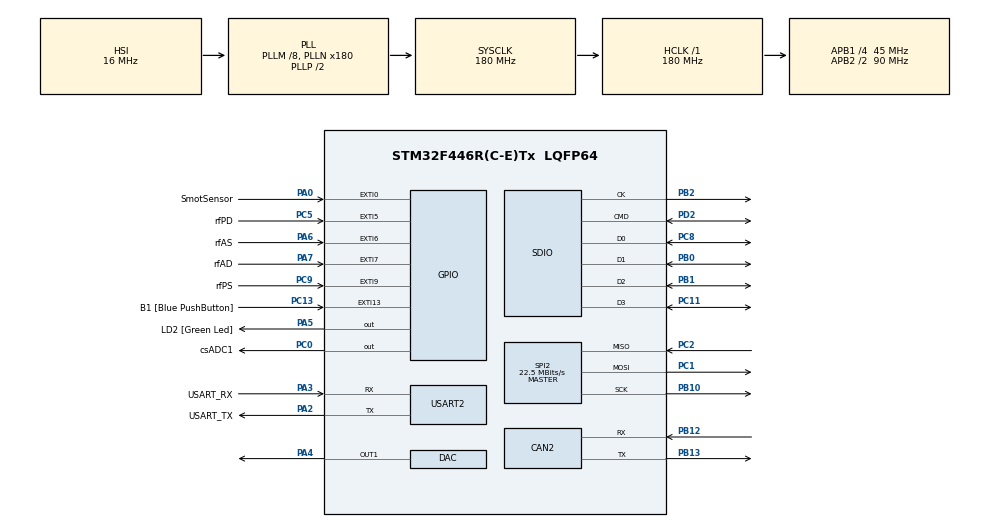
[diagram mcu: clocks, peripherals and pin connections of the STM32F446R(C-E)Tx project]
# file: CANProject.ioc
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CAN2.CalculateTimeQuantum=355.55555555555554
Mcu.Family=STM32F4
Mcu.Name=STM32F446R(C-E)Tx
Mcu.Package=LQFP64
NVIC.CAN2_RX0_IRQn=true\:0\:0\:false\:false\:true\:true\:true
NVIC.EXTI0_IRQn=true\:0\:0\:false\:false\:true\:true\:true
NVIC.EXTI15_10_IRQn=true\:0\:0\:false\:false\:true\:true\:true
NVIC.EXTI9_5_IRQn=true\:0\:0\:false\:false\:true\:true\:true
NVIC.PriorityGroup=NVIC_PRIORITYGROUP_0
NVIC.SDIO_IRQn=true\:0\:0\:false\:false\:true\:true\:true
NVIC.TIM2_IRQn=true\:0\:0\:false\:false\:true\:true\:true
NVIC.USART2_IRQn=true\:0\:0\:false\:false\:true\:true\:true
PA0-WKUP.GPIO_Label=SmotSensor
PA0-WKUP.GPIO_ModeDefaultEXTI=GPIO_MODE_IT_RISING_FALLING
PA0-WKUP.Signal=GPXTI0
PA13.GPIO_Label=TMS
PA13.Mode=Serial_Wire
PA13.Signal=SYS_JTMS-SWDIO
PA14.GPIO_Label=TCK
PA14.Mode=Serial_Wire
PA14.Signal=SYS_JTCK-SWCLK
PA2.GPIO_Label=USART_TX
PA2.Mode=Asynchronous
PA2.Signal=USART2_TX
PA3.GPIO_Label=USART_RX
PA3.Mode=Asynchronous
PA3.Signal=USART2_RX
PA4.Signal=COMP_DAC1_group
PA5.GPIO_Label=LD2 [Green Led]
PA5.Signal=GPIO_Output
PA6.GPIO_Label=rfAS
PA6.GPIO_ModeDefaultEXTI=GPIO_MODE_IT_RISING_FALLING
PA6.Signal=GPXTI6
PA7.GPIO_Label=rfAD
PA7.GPIO_ModeDefaultEXTI=GPIO_MODE_IT_FALLING
PA7.Signal=GPXTI7
PB0.Mode=SD_4_bits_Wide_bus
PB0.Signal=SDIO_D1
PB1.Mode=SD_4_bits_Wide_bus
PB1.Signal=SDIO_D2
PB10.Mode=Full_Duplex_Master
PB10.Signal=SPI2_SCK
PB12.Mode=Slave
PB12.Signal=CAN2_RX
PB13.Mode=Slave
PB13.Signal=CAN2_TX
PB2.Mode=SD_4_bits_Wide_bus
PB2.Signal=SDIO_CK
PB3.GPIO_Label=SWO
PB3.Signal=SYS_JTDO-SWO
PC0.GPIO_Label=csADC1
PC0.Signal=GPIO_Output
PC1.Mode=Full_Duplex_Master
PC1.Signal=SPI2_MOSI
PC11.Mode=SD_4_bits_Wide_bus
PC11.Signal=SDIO_D3
PC13.GPIO_Label=B1 [Blue PushButton]
PC13.GPIO_ModeDefaultEXTI=GPIO_MODE_IT_FALLING
PC13.Signal=GPXTI13
PC14-OSC32_IN.Mode=LSE-External-Oscillator
PC14-OSC32_IN.Signal=RCC_OSC32_IN
PC15-OSC32_OUT.Mode=LSE-External-Oscillator
PC15-OSC32_OUT.Signal=RCC_OSC32_OUT
PC2.Mode=Full_Duplex_Master
PC2.Signal=SPI2_MISO
PC5.GPIO_Label=rfPD
PC5.GPIO_ModeDefaultEXTI=GPIO_MODE_IT_RISING_FALLING
PC5.Signal=GPXTI5
PC8.Mode=SD_4_bits_Wide_bus
PC8.Signal=SDIO_D0
PC9.GPIO_Label=rfPS
PC9.GPIO_ModeDefaultEXTI=GPIO_MODE_IT_RISING_FALLING
PC9.Signal=GPXTI9
PD2.Mode=SD_4_bits_Wide_bus
PD2.Signal=SDIO_CMD
PH0-OSC_IN.Mode=HSE-External-Oscillator
PH0-OSC_IN.Signal=RCC_OSC_IN
PH1-OSC_OUT.Mode=HSE-External-Oscillator
PH1-OSC_OUT.Signal=RCC_OSC_OUT
ProjectManager.HeapSize=0x200
ProjectManager.StackSize=0x400
ProjectManager.TargetToolchain=STM32CubeIDE
RCC.48MHZClocksFreq_Value=84000000
RCC.AHBFreq_Value=180000000
RCC.APB1CLKDivider=RCC_HCLK_DIV4
RCC.APB1Freq_Value=45000000
RCC.APB1TimFreq_Value=90000000
RCC.APB2CLKDivider=RCC_HCLK_DIV2
RCC.APB2Freq_Value=90000000
RCC.APB2TimFreq_Value=180000000
RCC.CortexFreq_Value=180000000
RCC.FLatency-AdvancedSettings=FLASH_LATENCY_5
RCC.HCLKFreq_Value=180000000
RCC.HSE_VALUE=8000000
RCC.HSI_VALUE=16000000
RCC.PLLM=8
RCC.PLLN=180
RCC.PLLQ=8
RCC.SYSCLKFreq_VALUE=180000000
RCC.SYSCLKSource=RCC_SYSCLKSOURCE_PLLCLK
RCC.USBFreq_Value=45000000
RCC.VCOOutputFreq_Value=360000000
SH.COMP_DAC1_group.0=DAC_OUT1,DAC_OUT1
SPI2.CalculateBaudRate=22.5 MBits/s
SPI2.Direction=SPI_DIRECTION_2LINES
SPI2.Mode=SPI_MODE_MASTER
SPI2.VirtualType=VM_MASTER
USART2.VirtualMode=VM_ASYNC
VP_TIM2_VS_ClockSourceINT.Mode=Internal
board=NUCLEO-F446RE

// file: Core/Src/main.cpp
/* USER CODE BEGIN Header */
/**
  ******************************************************************************
  * @file           : main.c
  * @brief          : Main program body
  ******************************************************************************
  * @attention
  *
  * <h2><center>&copy; Copyright (c) 2020 STMicroelectronics.
  * All rights reserved.</center></h2>
  *
  * This software component is licensed by ST under BSD 3-Clause license,
  * the "License"; You may not use this file except in compliance with the
  * License. You may obtain a copy of the License at:
  *                        opensource.org/licenses/BSD-3-Clause
  *
  ******************************************************************************
  */
/* USER CODE END Header */

#include "main.h"
#include "can.h"
#include "dac.h"
#include "sdio.h"
#include "spi.h"
#include "tim.h"
#include "usart.h"
#include "gpio.h"

/* USER CODE BEGIN Includes */
#include "MCP3208.h"
/* USER CODE END Includes */

void SystemClock_Config(void);
/* USER CODE BEGIN PFP */
extern void dumpMemoriaUART();
/* USER CODE END PFP */

/* USER CODE BEGIN 0 */

//	ENGINE RPM SECTION
uint8_t memBusy = 0;
int8_t SmotLastValue = -1; // reset value
const uint8_t 	tickAggRPM 		= 5; // Ogni 5 dati ricevuti aggiornare RPM Media
const uint16_t 	timeoutRPM 		= 500; // timeout errore sensore e/o motore spento (millisecondi)
uint8_t 		tickAggRPM_last = 0;
uint16_t	 	timeoutRPM_last = 0;
uint8_t newCanRx = 0;

CAN_TxHeaderTypeDef   	TxHeader;
CAN_RxHeaderTypeDef   	RxHeader;
uint8_t               	TxData[8];
uint8_t               	RxData[8];
uint32_t              	TxMailbox;
timestamp 			  	Orario = {0, 0, 0, 0};
uint16_t				tmpsMemory = 0;
uint16_t d = 0;
SensList SList16[NSensori16bit] = {
	//	ID,  NOME, 			Routine Polling,	 	h, UltimoValore;
		{0,  "Acc X", 		RoutineAccelerometro, 	0, 0}, // Analogico
		{1,  "Acc Y", 		RoutineAccelerometro, 	1, 0}, // Analogico
		{2,  "Giroscopio", 	RoutineGiroscopio, 		0, 0}, // Analogico
		{3, "APPS1",   		RoutineAPPS,			0, 0}, // Potenziometro Acceleratore
		{4, "APPS2",   		RoutineAPPS, 			1, 0}, // Potenziometro Acceleratore Backup
		{5, "TPS1",    		RoutineTPS, 			0, 0}, // Potenziometro Apertura Farfalla
		{6, "TPS2",    		RoutineTPS, 			1, 0}, // Potenziometro Apertura Farfalla Backup
		{7, "DAC", 			RoutineDAC,				0, 0}, // Acceleratore STM32
		{8, "Frizione",		RoutineFrizione, 		0, 0}, //
};

SensList SList8[NSensori8bit] = {
	//	ID,		NOME, 			Routine Polling,	 	h, UltimoValore;
		{1, 	"RF AS", 		noRoutine, 				0, 0},	// Ruota Fonica, Digitale
		{2, 	"RF AD", 		noRoutine, 				0, 0},	// Ruota Fonica, Digitale
		{3, 	"RF PS", 		noRoutine, 				0, 0},	// Ruota Fonica, Digitale
		{4, 	"RF PD", 		noRoutine, 				0, 0},	// Ruota Fonica, Digitale
		{5, 	"SMOT",	    	noRoutine, 				0, 0},	// Sensore Crankshaft
		{6, 	"V Batt1",	 	RoutineV, 				0, 0},	// Analogico, V Batteria 12v
		{7, 	"V Batt2", 		RoutineV, 				1, 0},	// Analogico, V Batteria 12v
		{8, 	"V Batt3", 		RoutineV, 				2, 0},	// Analogico, V Batteria 12v
		{9, 	"STempOlio", 	RoutineTempOlio, 		0, 0},	// Sens. Temp. Olio,		Analogico
		{10,	"STempAcqua", 	RoutineTempAcqua, 		0, 0},	// Sens. Temp. Acqua, 	Analogico
		{11,	"STempAria",	RoutineTempAria, 		0, 0},	// Sens. Temp. Aria Asp, Analogico
		{12,	"SGear", 		RoutineMarcia, 			0, 0},	// Marcia Inserita
		{13, 	"SCAM",			noRoutine,				0, 0}	// Sensore albero a camme
};

uint8_t Aggiornamento = 0;

SensDataLog8 	inMemoryData8[NSensori8bit][MAXDATA8bit];
SensDataLog16 	inMemoryData16[NSensori16bit][MAXDATA16bit];
uint16_t 		inMemoryIndex8[NSensori8bit];
uint16_t 		inMemoryIndex16[NSensori16bit];

// Questi dati vengono aggiornati tramite polling/interrupt
// cambiare gli ID potrebbe corrompere il programma
DataList ValoriVeicolo[] = {
//		ID	NOME					Ultimo Valore Aggiornato (16bit)
//		Si aggiorna inHAL_GPIO_EXTI_Callback
		{0,	"RPM Ist", 				0}, // Valore si aggiorna ogni 2 valori consecutivi.
//		Si aggiorna inHAL_GPIO_EXTI_Callback
		{1,	"RPM Media",			0},	// Valore si aggiorna ogni uint8_t tickAggRPM consecutivi.
		{2,	"Stato Motore",			0},	// 0 = Spento, 1 = Acceso
		{3, "Stato Veicolo",		0}, // da regolamento
		{4, "AngoloAsp",			0}, // valore in gradi
		{5,	"TempOlioMot",	 		0}, // valore in gradi cent
		{6, "TempAcquaMot", 		0}, // valore in gradi cent
		{7, "TempAriaAsp",			0}, // valore in gradi cent
		{8, "AngoloAcc",			0} 	// valore in gradi
};

MCP3208 adc(ADC_VREF, SPI_CS_PORT, SPI_CS_PIN, &hspi2);

/* USER CODE END 0 */

int main(void)
{
  /* USER CODE BEGIN 1 */
  /*for (uint8_t i = 0; i < NSensori; i++) {
	  for(uint16_t p = 0; p < MAXDATA; p++)
		  inMemoryData[i][p] = {0}; // inizializzo la variabile ??
  }*/
  inMemoryData16[0][0] = {0, 1234};
  /* USER CODE END 1 */

  /* MCU Configuration--------------------------------------------------------*/

  /* Reset of all peripherals, Initializes the Flash interface and the Systick. */
  HAL_Init();

  /* Configure the system clock */
  SystemClock_Config();

  /* Initialize all configured peripherals */
	MX_GPIO_Init();
	MX_CAN2_Init();
	MX_DAC_Init();
	MX_SDIO_SD_Init();
	MX_SPI2_Init();
	MX_TIM2_Init();
	MX_USART2_UART_Init();
	MX_FATFS_Init();
  /* Infinite loop */
  while (1)
  {

  }
}

/* USER CODE BEGIN 4 */

void sensCanReq() {

}

void aggSensMemoria() {
	/*if (d >= MAXDATA-NSensori) {
		dumpMemoriaUART();
	}
	if (!memBusy) {
		for (uint8_t i = 0; i < NSensori; i++) {
			timestamp tsmpTemp = {Orario.millis,
			Orario.secondi, Orario.minuti, Orario.ore};
			uint16_t ValoreTemp;

			SList[i].func(&ValoreTemp, SList[i].helper);

			inMemory[d].IDSensore = i;
			inMemory[d].Valore = ValoreTemp;
			inMemory[d].tmps = tsmpTemp;

			SList[i].lastValoreChecked = ValoreTemp;
			d++;
		}
	}*/
}
void RoutineSMOT(uint16_t *buffer, uint8_t helper) {

}
void RoutineAccelerometro(uint16_t *buffer, uint8_t helper) {

}
void RoutineRF(uint16_t *buffer, uint8_t helper) {

}
void RoutineGiroscopio(uint16_t *buffer, uint8_t helper) {

}
void noRoutine(uint16_t *buffer, uint8_t helper) {
	// in questo caso il sensore viene aggiornato tramite interrupt e non con il polling
}
void RoutineV(uint16_t *buffer, uint8_t helper) {

}
void RoutineAPPS(uint16_t *buffer, uint8_t helper) {

}
void RoutineTPS(uint16_t *buffer, uint8_t helper) {

}
void RoutineDAC(uint16_t *buffer, uint8_t helper) {

}
void RoutineFrizione(uint16_t *buffer, uint8_t helper) {

}
void RoutineMarcia(uint16_t *buffer, uint8_t helper) {

}
void RoutineTempAcqua(uint16_t *buffer, uint8_t helper) {

}
void RoutineTempOlio(uint16_t *buffer, uint8_t helper) {

}
void RoutineTempAria(uint16_t *buffer, uint8_t helper) {

}

void HAL_GPIO_EXTI_Callback(uint16_t GPIO_Pin) { // External GPIO Interrupt line 0 HAL
	if(GPIO_Pin == SmotSensor_Pin) { // Callback Sensore Motore
		uint8_t readValue = HAL_GPIO_ReadPin(SmotSensor_GPIO_Port, SmotSensor_Pin);
		timeoutRPM_last = 0;

		if(SmotLastValue == -1) {
			SmotLastValue = readValue; // prima lettura
			inMemoryData8[SMOTIndex][inMemoryIndex8[SMOTIndex]].Valore = readValue;
			inMemoryData8[SMOTIndex][inMemoryIndex8[SMOTIndex]].tmps = tmpsMemory; }
		else if(SmotLastValue == LOW && readValue == HIGH) { // rising edge
			inMemoryData8[SMOTIndex][inMemoryIndex8[SMOTIndex]].Valore = 0;
			inMemoryData8[SMOTIndex][inMemoryIndex8[SMOTIndex]].tmps = tmpsMemory; }
		else if(SmotLastValue == HIGH && readValue == LOW) { // falling edge
			inMemoryData8[SMOTIndex][inMemoryIndex8[SMOTIndex]].Valore = 1;
			inMemoryData8[SMOTIndex][inMemoryIndex8[SMOTIndex]].tmps = tmpsMemory; }

		inMemoryIndex8[SMOTIndex]++;

		tickAggRPM_last++;

		if(tickAggRPM_last == tickAggRPM) {
			uint16_t valorMedioRPM = 0;
			for(uint8_t i = 0; i < tickAggRPM; i++) {
				//valorMedioRPM =+ inMemoryData[SMOTIndex][inMemoryIndex[SMOTIndex] - 1 - i].Valore;
				// TODO Sviluppare Modello Matlab RPM e Inserire
			}
			//valorMedioRPM = valorMedioRPM/tickAggRPM; // verificare questo calcolo e vedere come migliorarlo
			tickAggRPM_last = 0;
			ValoriVeicolo[RPMedia].Valore = valorMedioRPM;
		}

		if(inMemoryIndex8[SMOTIndex] >= MAXDATA8bit - tickAggRPM) {
			// TODO Dove salvo questi dati?
			inMemoryIndex8[SMOTIndex] = 0;
		}

	}
}
/* USER CODE END 4 */

void SystemClock_Config(void)
{
  RCC_OscInitTypeDef RCC_OscInitStruct = {0};
  RCC_ClkInitTypeDef RCC_ClkInitStruct = {0};
  RCC_PeriphCLKInitTypeDef PeriphClkInitStruct = {0};

  /** Configure the main internal regulator output voltage
  */
  __HAL_RCC_PWR_CLK_ENABLE();
  __HAL_PWR_VOLTAGESCALING_CONFIG(PWR_REGULATOR_VOLTAGE_SCALE1);
  /** Initializes the CPU, AHB and APB busses clocks
  */
  RCC_OscInitStruct.OscillatorType = RCC_OSCILLATORTYPE_HSI;
  RCC_OscInitStruct.HSIState = RCC_HSI_ON;
  RCC_OscInitStruct.HSICalibrationValue = RCC_HSICALIBRATION_DEFAULT;
  RCC_OscInitStruct.PLL.PLLState = RCC_PLL_ON;
  RCC_OscInitStruct.PLL.PLLSource = RCC_PLLSOURCE_HSI;
  RCC_OscInitStruct.PLL.PLLM = 8;
  RCC_OscInitStruct.PLL.PLLN = 180;
  RCC_OscInitStruct.PLL.PLLP = RCC_PLLP_DIV2;
  RCC_OscInitStruct.PLL.PLLQ = 8;
  RCC_OscInitStruct.PLL.PLLR = 2;
  if (HAL_RCC_OscConfig(&RCC_OscInitStruct) != HAL_OK)
  {
    Error_Handler();
  }
  /** Activate the Over-Drive mode
  */
  if (HAL_PWREx_EnableOverDrive() != HAL_OK)
  {
    Error_Handler();
  }
  /** Initializes the CPU, AHB and APB busses clocks
  */
  RCC_ClkInitStruct.ClockType = RCC_CLOCKTYPE_HCLK|RCC_CLOCKTYPE_SYSCLK
                              |RCC_CLOCKTYPE_PCLK1|RCC_CLOCKTYPE_PCLK2;
  RCC_ClkInitStruct.SYSCLKSource = RCC_SYSCLKSOURCE_PLLCLK;
  RCC_ClkInitStruct.AHBCLKDivider = RCC_SYSCLK_DIV1;
  RCC_ClkInitStruct.APB1CLKDivider = RCC_HCLK_DIV4;
  RCC_ClkInitStruct.APB2CLKDivider = RCC_HCLK_DIV2;

  if (HAL_RCC_ClockConfig(&RCC_ClkInitStruct, FLASH_LATENCY_5) != HAL_OK)
  {
    Error_Handler();
  }
  PeriphClkInitStruct.PeriphClockSelection = RCC_PERIPHCLK_SDIO|RCC_PERIPHCLK_CLK48;
  PeriphClkInitStruct.Clk48ClockSelection = RCC_CLK48CLKSOURCE_PLLQ;
  PeriphClkInitStruct.SdioClockSelection = RCC_SDIOCLKSOURCE_CLK48;
  if (HAL_RCCEx_PeriphCLKConfig(&PeriphClkInitStruct) != HAL_OK)
  {
    Error_Handler();
  }
}

void Error_Handler(void)
{
}

/************************ (C) COPYRIGHT STMicroelectronics *****END OF FILE****/
